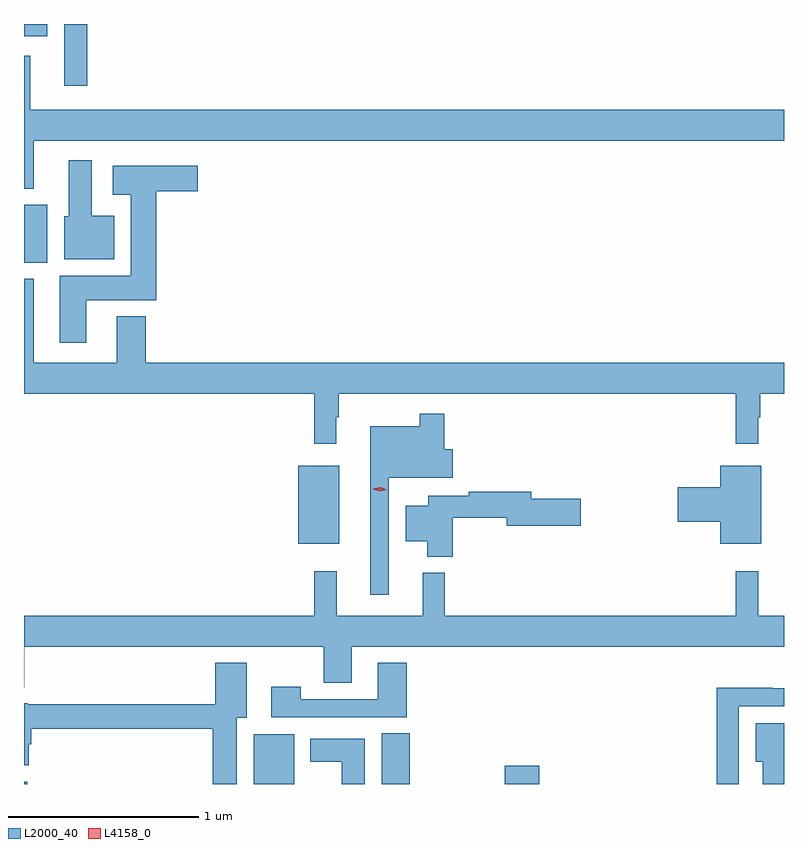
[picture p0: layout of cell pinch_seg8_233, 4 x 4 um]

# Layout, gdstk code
import gdstk
lib = gdstk.Library(unit=1e-6, precision=1e-09)
def R(c, l, rs):  # rectangles x0, y0, x1, y1
    for r in rs: c.add(gdstk.rectangle(r[:2], r[2:], *l))
def P(c, l, *ps):  # polygons
    for p in ps: c.add(gdstk.Polygon(p, *l))
L2000_40 = (2000, 40)
L4158_0 = (4158, 0)

pinch_seg8_233 = lib.new_cell('pinch_seg8_233')
R(pinch_seg8_233, L2000_40, [(694.048,1095.798,694.064,1095.811), (695.258,1095.798,695.47,1096.06), (695.93,1095.798,696.077,1096.064), (696.578,1095.798,696.761,1095.895), (695.492,1097.063,695.707,1097.473), (694.048,1098.542,694.171,1098.847), (694.259,1099.473,694.381,1099.798), (694.048,1099.733,694.171,1099.798)])
P(pinch_seg8_233, L2000_40, [(694.099,1099.184),(698.048,1099.184),(698.048,1099.348),(694.081,1099.348),(694.081,1099.63),(694.048,1099.63),(694.048,1098.932),(694.099,1098.932)],
  [(694.522,1098.79),(694.405,1098.79),(694.405,1099.081),(694.283,1099.081),(694.283,1098.786),(694.259,1098.786),(694.259,1098.56),(694.522,1098.56)],
  [(694.375,1098.344),(694.745,1098.344),(694.745,1098.917),(694.963,1098.917),(694.963,1099.051),(694.515,1099.051),(694.515,1098.899),(694.61,1098.899),(694.61,1098.472),(694.235,1098.472),(694.235,1098.12),(694.375,1098.12)],
  [(695.692,1097.729),(695.704,1097.729),(695.704,1097.852),(697.795,1097.852),(697.795,1097.589),(697.912,1097.589),(697.912,1097.729),(697.924,1097.729),(697.924,1097.852),(698.048,1097.852),(698.048,1098.016),(694.688,1098.016),(694.688,1098.259),(694.535,1098.259),(694.535,1098.016),(694.099,1098.016),(694.099,1098.457),(694.048,1098.457),(694.048,1097.852),(695.575,1097.852),(695.575,1097.589),(695.692,1097.589)],
  [(695.967,1097.411),(696.304,1097.411),(696.304,1097.559),(696.26,1097.559),(696.26,1097.746),(696.132,1097.746),(696.132,1097.68),(695.87,1097.68),(695.87,1096.794),(695.967,1096.794)],
  [(697.927,1097.473),(697.712,1097.473),(697.712,1097.36),(697.488,1097.36),(697.488,1097.177),(697.712,1097.177),(697.712,1097.063),(697.927,1097.063)],
  [(696.305,1097.2),(696.59,1097.2),(696.59,1097.158),(696.979,1097.158),(696.979,1097.3),(696.718,1097.3),(696.718,1097.336),(696.388,1097.336),(696.388,1097.316),(696.176,1097.316),(696.176,1097.263),(696.056,1097.263),(696.056,1097.075),(696.17,1097.075),(696.17,1096.994),(696.305,1096.994)],
  [(695.693,1096.918),(695.575,1096.918),(695.575,1096.684),(694.048,1096.684),(694.048,1096.307),(694.049,1096.307),(694.049,1096.52),(695.626,1096.52),(695.626,1096.33),(695.773,1096.33),(695.773,1096.52),(698.048,1096.52),(698.048,1096.684),(697.913,1096.684),(697.913,1096.918),(697.795,1096.918),(697.795,1096.684),(696.263,1096.684),(696.263,1096.909),(696.146,1096.909),(696.146,1096.684),(695.693,1096.684)],
  [(696.062,1096.435),(695.909,1096.435),(695.909,1096.245),(695.505,1096.245),(695.505,1096.309),(695.349,1096.309),(695.349,1096.149),(696.062,1096.149)],
  [(695.167,1096.148),(695.221,1096.148),(695.221,1096.435),(695.054,1096.435),(695.054,1096.219),(694.068,1096.219),(694.068,1096.222),(694.048,1096.222),(694.048,1095.896),(694.072,1095.896),(694.072,1096.007),(694.085,1096.007),(694.085,1096.09),(695.042,1096.09),(695.042,1095.798),(695.167,1095.798)],
  [(697.809,1096.206),(698.048,1096.206),(698.048,1096.302),(697.985,1096.302),(697.985,1096.304),(697.693,1096.304),(697.693,1095.798),(697.809,1095.798)],
  [(698.048,1096.117),(697.898,1096.117),(697.898,1095.914),(697.937,1095.914),(697.937,1095.798),(698.048,1095.798)],
  [(695.842,1096.036),(695.555,1096.036),(695.555,1095.914),(695.72,1095.914),(695.72,1095.798),(695.842,1095.798)])
P(pinch_seg8_233, L4158_0, [(695.921,1097.339),(695.886,1097.35),(695.886,1097.351),(695.886,1097.351),(695.922,1097.359),(695.957,1097.348),(695.957,1097.348),(695.957,1097.348)])

lib.write_gds('pinch_seg8_233.gds')
